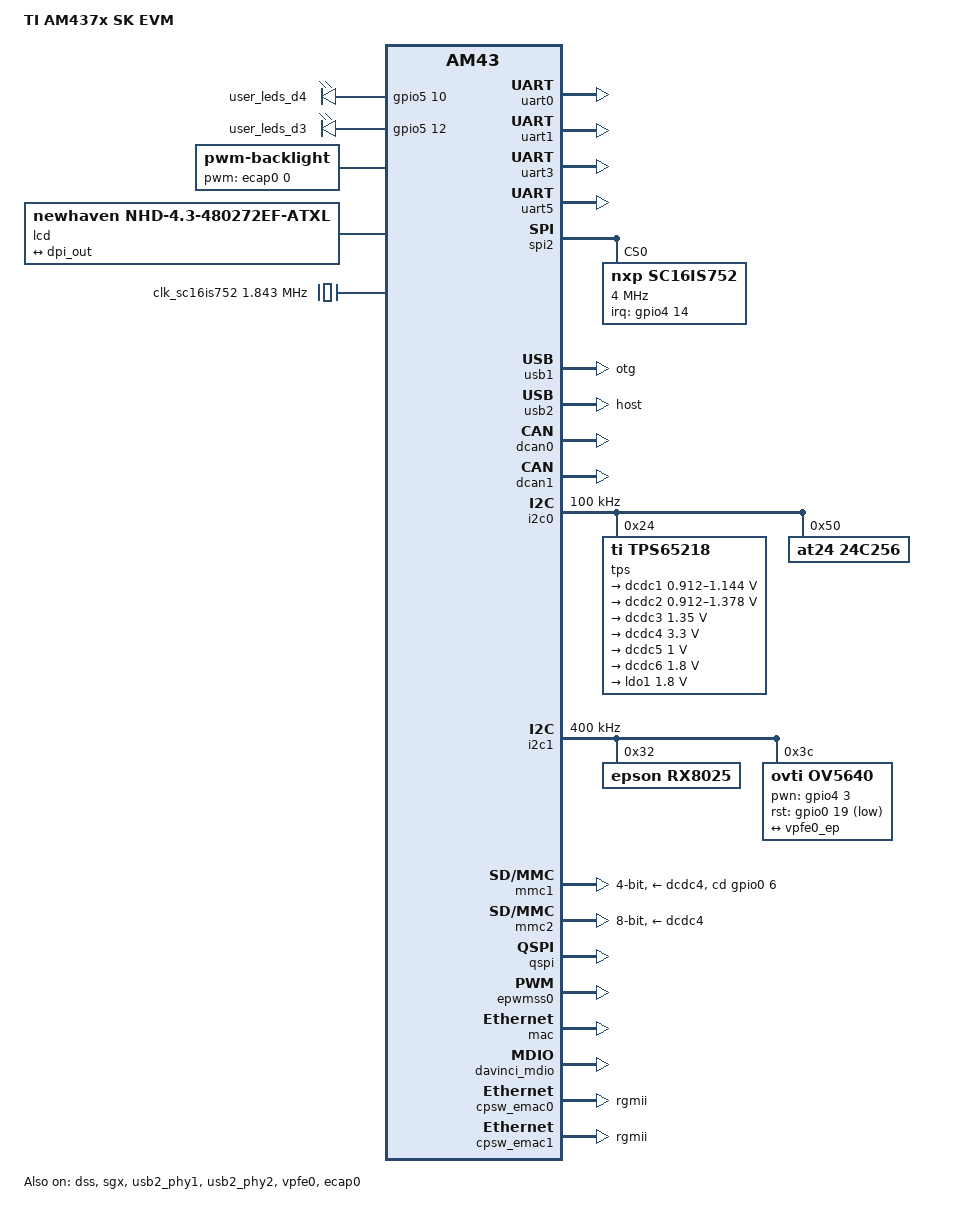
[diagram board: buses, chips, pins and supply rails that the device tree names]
/*
 * Copyright (C) 2015 Embest Technology Co., Ltd., - http://www.embest-tech.com
 *
 * This program is free software; you can redistribute it and/or modify
 * it under the terms of the GNU General Public License version 2 as
 * published by the Free Software Foundation.
 *
 * This dts is for embest own product:
 * SOM-PH8800 + BB-SPH1800
 */
/dts-v1/;

#include "am4372.dtsi"
#include <dt-bindings/pinctrl/am43xx.h>
#include <dt-bindings/pwm/pwm.h>
#include <dt-bindings/gpio/gpio.h>
#include <dt-bindings/input/input.h>

/ {
	model = "TI AM437x SK EVM";
	compatible = "ti,am437x-sk-evm","ti,am4372","ti,am43";

	aliases {

		serial1 = &uart1;
		serial3 = &uart3;
		serial5 = &uart5;
	};

	fragment@2 {
		target-path = "/clocks";
		__overlay__ {
			/* external oscillator of sc16is752 on spi2 */
			clk_sc16is752: sc16is752_osc {
				compatible = "fixed-clock";
				#clock-cells = <0>;
				clock-frequency  = <1843200>;
			};
		};
	};

	leds {
		pinctrl-names = "default";
		pinctrl-0 = <&user_leds>;
		compatible = "gpio-leds";

		led1 {
			label = "user_leds_d4";
			gpios = <&gpio5 10 GPIO_ACTIVE_HIGH>;
			linux,default-trigger = "none";
			default-state = "on";
		};

		led2 {
			label = "user_leds_d3";
			gpios = <&gpio5 12 GPIO_ACTIVE_HIGH>;
			linux,default-trigger = "none";
			default-state = "on";
		};
	};

	backlight: backlight {
		compatible = "pwm-backlight";

		pwms = <&ecap0 0 50000 PWM_POLARITY_INVERTED>;
		brightness-levels = <0 51 53 56 62 75 101 152 255>;
		default-brightness-level = <6>;
	};

	lcd0: display {
		compatible = "newhaven,nhd-4.3-480272ef-atxl", "panel-dpi";
		label = "lcd";

		/* If there is a enable pin in LCD sch. you need to add this!
		*pinctrl-names = "default";
		*pinctrl-0 = <&lcd_pins>;
		*
		*enable-gpios = <&gpio1 7 GPIO_ACTIVE_HIGH>; */

		panel-timing {
			/*This is the timing for HDMI&VGA*/
			/*clock-frequency = <80000000>;
			hactive = <1024>;
			vactive = <768>;
			hfront-porch = <18>;
			hback-porch = <297>;
			hsync-len = <53>;
			vfront-porch = <3>;
			vback-porch = <35>;
			vsync-len = <6>;
			hsync-active = <0>;
			vsync-active = <0>;
			de-active = <1>;
			pixelclk-active = <1>;*/

			/*This is the timing for 4.3inch_LCD*/
			clock-frequency = <9000000>;
			hactive = <480>;
			vactive = <272>;
			hfront-porch = <2>;
			hback-porch = <43>;
			hsync-len = <41>;
			vfront-porch = <2>;
			vback-porch = <12>;
			vsync-len = <10>;
			hsync-active = <0>;
			vsync-active = <0>;
			de-active = <1>;
			pixelclk-active = <1>;

			/*This is the timing for 7inch_LCD*/
			/*clock-frequency = <9000000>;
			hactive = <320>;
			vactive = <240>;
			hfront-porch = <64>;
			hback-porch = <10>;
			hsync-len = <16>;
			vfront-porch = <32>;
			vback-porch = <10>;
			vsync-len = <3>;
			hsync-active = <0>;
			vsync-active = <0>;
			de-active = <1>;
			pixelclk-active = <1>;*/
		};

		port {
			lcd_in: endpoint {
				remote-endpoint = <&dpi_out>;
			};
		};
	};
};

/* This is needed for LCD*/
&dss {
	status = "okay";

	pinctrl-names = "default";
	pinctrl-0 = <&dss_pins>;

	port {
		dpi_out: endpoint@0 {
			remote-endpoint = <&lcd_in>;
			data-lines = <24>;
		};
	};
};

/* This is needed for LCD*/
&sgx {
	status = "okay";
};

&cpu {
	cpu0-supply = <&dcdc2>;
};

&uart0 {
	status = "okay";
	pinctrl-names = "default";
	pinctrl-0 = <&uart0_pins>;
};

&uart1 {
	pinctrl-names = "default";
	pinctrl-0 = <&uart1_pins>;
	status = "okay";
};

&uart3 {
	pinctrl-names = "default";
	pinctrl-0 = <&uart3_pins>;
	status = "okay";
};

&uart5 {
	pinctrl-names = "default";
	pinctrl-0 = <&uart5_pins>;
	status = "okay";
};

&spi2 {
	pinctrl-names = "default";
	pinctrl-0 = <&spi2_pins>;
	ti,pindir-d0-out-d1-in = <1>;
	status = "okay";

	sc16is752: sc16is752@0 {
		pinctrl-names = "default";
		pinctrl-0 = <&sc16is752_irq_pins>;
		spi-max-frequency = <4000000>;
		reg = <0>;
		compatible = "nxp,sc16is752";
		clocks = <&clk_sc16is752>;
		interrupt-parent = <&gpio4>;
		interrupts = <14 0x2>;
		gpio-controller;
		#gpio-cells = <1>;
	};
};

&usb2_phy1 {
	status = "okay";
};

&usb1 {
	dr_mode = "otg";
	status = "okay";
	pinctrl-names = "default";
	pinctrl-0 = <&usb1_pins>;
};

&usb2_phy2 {
	status = "okay";
};

&usb2 {
	dr_mode = "host";
	status = "okay";
	pinctrl-names = "default";
	pinctrl-0 = <&usb2_pins>;
};

&dcan0 {
	pinctrl-names = "default";
	pinctrl-0 = <&can0_pins>;
	status = "okay";
};

&dcan1 {
	pinctrl-names = "default";
	pinctrl-0 = <&can1_pins>;
	status = "okay";
};

&i2c0 {
	status = "okay";
	pinctrl-names = "default";
	pinctrl-0 = <&i2c0_pins>;
	clock-frequency = <100000>;

	tps@24 {
		compatible = "ti,tps65218";
		reg = <0x24>;
		interrupts = <GIC_SPI 7 IRQ_TYPE_LEVEL_HIGH>;
		interrupt-controller;
		#interrupt-cells = <2>;

		dcdc1: regulator-dcdc1 {
			compatible = "ti,tps65218-dcdc1";
			/* VDD_CORE limits min of OPP50 and max of OPP100 */
			regulator-name = "vdd_core";
			regulator-min-microvolt = <912000>;
			regulator-max-microvolt = <1144000>;
			regulator-boot-on;
			regulator-always-on;
		};

		dcdc2: regulator-dcdc2 {
			compatible = "ti,tps65218-dcdc2";
			/* VDD_MPU limits min of OPP50 and max of OPP_NITRO */
			regulator-name = "vdd_mpu";
			regulator-min-microvolt = <912000>;
			regulator-max-microvolt = <1378000>;
			regulator-boot-on;
			regulator-always-on;
		};

		dcdc3: regulator-dcdc3 {
			compatible = "ti,tps65218-dcdc3";
			regulator-name = "vdds_ddr";
			regulator-min-microvolt = <1350000>;
			regulator-max-microvolt = <1350000>;
			regulator-boot-on;
			regulator-always-on;
			regulator-state-mem {
				regulator-on-in-suspend;
			};
			regulator-state-disk {
				regulator-off-in-suspend;
			};
		};

		dcdc4: regulator-dcdc4 {
			compatible = "ti,tps65218-dcdc4";
			regulator-name = "v3_3d";
			regulator-min-microvolt = <3300000>;
			regulator-max-microvolt = <3300000>;
			regulator-boot-on;
			regulator-always-on;
		};

		dcdc5: regulator-dcdc5 {
			compatible = "ti,tps65218-dcdc5";
			regulator-name = "v1_0bat";
			regulator-min-microvolt = <1000000>;
			regulator-max-microvolt = <1000000>;
			regulator-boot-on;
			regulator-always-on;
			regulator-state-mem {
				regulator-on-in-suspend;
			};
		};

		dcdc6: regulator-dcdc6 {
			compatible = "ti,tps65218-dcdc6";
			regulator-name = "v1_8bat";
			regulator-min-microvolt = <1800000>;
			regulator-max-microvolt = <1800000>;
			regulator-boot-on;
			regulator-always-on;
			regulator-state-mem {
				regulator-on-in-suspend;
			};
		};

		ldo1: regulator-ldo1 {
			compatible = "ti,tps65218-ldo1";
			regulator-name = "v1_8d";
			regulator-min-microvolt = <1800000>;
			regulator-max-microvolt = <1800000>;
			regulator-boot-on;
			regulator-always-on;
		};

		power-button {
			compatible = "ti,tps65218-pwrbutton";
			status = "okay";
			interrupts = <3 IRQ_TYPE_EDGE_BOTH>;
		};
	};

	at24@50 {
		compatible = "at24,24c256";
		pagesize = <64>;
		reg = <0x50>;
	};
};

&i2c1 {
	status = "okay";
	pinctrl-names = "default";
	pinctrl-0 = <&i2c1_pins>;
	clock-frequency = <400000>;

	rx8025: rx8025@32 {
                compatible = "epson,rx8025";
                reg = <0x32>;
                status = "okay";
        };

	ov5640@3c {
		compatible = "ovti,ov5640";
		reg = <0x3c>;
		pinctrl-names = "default";
		pinctrl-0 = <&clkout2_pin>;	
		
		clocks = <&clkout2_ck>;
		clock-names = "mclk";
		assigned-clocks = <&clkout2_mux_ck>, <&clkout2_post_div_ck>;
		assigned-clock-parents = <&sysclk_div>;
		assigned-clock-rates = <0>, <12500000>;		
		
		pwn = <&gpio4 3 GPIO_ACTIVE_HIGH>;
		/*rst = <&gpio1 22 GPIO_ACTIVE_LOW>; */
		rst = <&gpio0 19 GPIO_ACTIVE_LOW>;
		port {
			ov5640_1: endpoint {
				remote-endpoint = <&vpfe0_ep>;
				link-frequencies = /bits/ 64 <70000000>;
			};
		};
	};
	
};

&vpfe0 {
	status = "okay";
	pinctrl-names = "default", "sleep";
	pinctrl-0 = <&vpfe0_pins_default>;
	pinctrl-1 = <&vpfe0_pins_sleep>;

	port {
		vpfe0_ep: endpoint {
			remote-endpoint = <&ov5640_1>;
			ti,am437x-vpfe-interface = <0>;
			bus-width = <8>;
			hsync-active = <0>;
			vsync-active = <0>;
		};
	};	
};

&mmc1 {
	status = "okay";
	pinctrl-names = "default", "sleep";
	pinctrl-0 = <&mmc1_pins>;
	pinctrl-1 = <&mmc1_pins_sleep>;

	vmmc-supply = <&dcdc4>;
	bus-width = <4>;
	cd-gpios = <&gpio0 6 GPIO_ACTIVE_HIGH>;
};

/* eMMC sits on mmc2 */
&mmc2 {
	/*
	 * When enabling eMMC, disable GPMC/NAND and set
	 * SelEMMCorNAND to output-high
	 */
	status = "okay";
	vmmc-supply = <&dcdc4>;
	bus-width = <8>;
	pinctrl-names = "default", "sleep";
	pinctrl-0 = <&emmc_pins_default>;
	pinctrl-1 = <&emmc_pins_sleep>;
	ti,non-removable;
};

&qspi {
	pinctrl-names = "default";
	pinctrl-0 = <&qspi_pins>;
	spi-max-frequency = <108000000>;
	status = "okay";

	/*m25p80@0 {
		compatible = "n25q256a";
		spi-max-frequency = <108000000>;
		reg = <0>;
		spi-cpol;
		spi-cpha;
		spi-tx-bus-width = <1>;
		spi-rx-bus-width = <4>;
		#address-cells = <1>;
		#size-cells = <1>;
	};*/
};

&gpio0 {
	status = "okay";
};

/* This is needed for SPI dev si16 */
&gpio4 {
	status = "okay";
};

/* This is needed for LED according to LED pins */
&gpio5 {
	status = "okay";
};

/* This is needed for backlight */
&epwmss0 {
	status = "okay";
};

/* This is needed for backlight */
&ecap0 {
	status = "okay";
	pinctrl-names = "default";
	pinctrl-0 = <&ecap0_pins>;
};

&mac {
	pinctrl-names = "default", "sleep";
	pinctrl-0 = <&cpsw_default>;
	pinctrl-1 = <&cpsw_sleep>;
	dual_emac = <1>;
	status = "okay";
};

&davinci_mdio {
	pinctrl-names = "default", "sleep";
	pinctrl-0 = <&davinci_mdio_default>;
	pinctrl-1 = <&davinci_mdio_sleep>;
	status = "okay";
};

&cpsw_emac0 {
	phy_id = <&davinci_mdio>, <7>;
	phy-mode = "rgmii";
	dual_emac_res_vlan = <1>;
};

&cpsw_emac1 {
	phy_id = <&davinci_mdio>, <6>;
	phy-mode = "rgmii";
	dual_emac_res_vlan = <2>;
};


&rtc {
	status = "disabled";
	ext-clk-src;
};

&am43xx_pinmux {
	/* UART0 pins: rxd & txd */
	uart0_pins: pinmux_uart0_pins {
		pinctrl-single,pins = <
			0x170 (PIN_INPUT_PULLUP | MUX_MODE0)	/* uart0_rxd.uart0_rxd */
			0x174 (PIN_OUTPUT_PULLDOWN | MUX_MODE0)	/* uart0_txd.uart0_txd */
		>;
	};

	/* UART1 pins: rxd & txd */
	uart1_pins: pinmux_uart1_pins {
		pinctrl-single,pins = <
			0x180 (PIN_INPUT_PULLUP | MUX_MODE0)	/* uart1_rxd.uart1_rxd */
			0x184 (PIN_OUTPUT_PULLDOWN | MUX_MODE0)	/* uart1_txd.uart1_txd */
		>;
	};

	/* UART3 pins: rxd & txd */
	uart3_pins: pinmux_uart3_pins {
		pinctrl-single,pins = <
			0x228 (PIN_INPUT_PULLUP | MUX_MODE0)	/* uart3_rxd.uart3_rxd */
			0x22c (PIN_OUTPUT_PULLDOWN | MUX_MODE0)	/* uart3_txd.uart3_txd */
			0x234 (PIN_OUTPUT_PULLDOWN | MUX_MODE7)	/* uart3_rts.gpio5_1   */
			0x230 (PIN_OUTPUT_PULLDOWN | MUX_MODE7)	/* uart3_cts.gpio5_0   */
		>;
	};

	/* UART5 pins: rxd & txd */
	uart5_pins: pinmux_uart5_pins {
		pinctrl-single,pins = <
			0x108 (PIN_INPUT_PULLUP | MUX_MODE3)	/* mii1_col.uart5_rxd */
			0x144 (PIN_OUTPUT_PULLDOWN | MUX_MODE3)	/* rmii1_refclk.uart5_txd */
			0x10c (PIN_OUTPUT_PULLDOWN | MUX_MODE7)	/* ctsn */
			0x110 (PIN_OUTPUT_PULLDOWN | MUX_MODE7) /* rtsn */
		>;
	};

	spi2_pins: pinmux_spi2_pins {
		pinctrl-single,pins = <
			0x260 (PIN_INPUT_PULLUP | MUX_MODE0) /* spi2_sclk.spi2_sclk */
			0x264 (PIN_OUTPUT_PULLUP | MUX_MODE0) /* spi2_d0.spi2_d0 */
			0x268 (PIN_INPUT_PULLUP | MUX_MODE0) /* spi2_d1.spi2_d1 */
			0x26C (PIN_OUTPUT_PULLUP | MUX_MODE0) /* spi2_cs0.spi2_cs0 */
		>;
	};

	sc16is752_irq_pins: sc16is752_irq_pins {
		pinctrl-single,pins = <
			0x1e8 (PIN_INPUT | MUX_MODE7)	    /* CAM1_DATA0.gpio4_14 */
		>;
	};

	/* I2C0 pins: sda & scl */
	i2c0_pins: i2c0_pins {
		pinctrl-single,pins = <
			0x188 (PIN_INPUT | SLEWCTRL_FAST | MUX_MODE0)  /* i2c0_sda.i2c0_sda */
			0x18c (PIN_INPUT | SLEWCTRL_FAST | MUX_MODE0)  /* i2c0_scl.i2c0_scl */
		>;
	};

	/* MMC1 pins:  data0 - data3; clk; cmd; detect pin */
	mmc1_pins: pinmux_mmc1_pins {
		pinctrl-single,pins = <
			0x0f0 (PIN_INPUT | MUX_MODE0) /* mmc0_dat3.mmc0_dat3 */
			0x0f4 (PIN_INPUT | MUX_MODE0) /* mmc0_dat2.mmc0_dat2 */
			0x0f8 (PIN_INPUT | MUX_MODE0) /* mmc0_dat1.mmc0_dat1 */
			0x0fc (PIN_INPUT | MUX_MODE0) /* mmc0_dat0.mmc0_dat0 */
			0x100 (PIN_INPUT | MUX_MODE0) /* mmc0_clk.mmc0_clk */
			0x104 (PIN_INPUT | MUX_MODE0) /* mmc0_cmd.mmc0_cmd */
			0x160 (PIN_INPUT | MUX_MODE7) /* spi0_cs1.gpio0_6 */
		>;
	};

	/* MMC1 pins:  data0 - data3; clk; cmd; detect pin */
	mmc1_pins_sleep: pinmux_mmc1_pins_sleep {
		pinctrl-single,pins = <
			0x0F0 (PIN_INPUT_PULLDOWN | MUX_MODE7)
			0x0F4 (PIN_INPUT_PULLDOWN | MUX_MODE7)
			0x0F8 (PIN_INPUT_PULLDOWN | MUX_MODE7)
			0x0FC (PIN_INPUT_PULLDOWN | MUX_MODE7)
			0x100 (PIN_INPUT_PULLDOWN | MUX_MODE7)
			0x104 (PIN_INPUT_PULLDOWN | MUX_MODE7)
			0x1A0 (PIN_INPUT_PULLDOWN | MUX_MODE7)
			0x160 (PIN_INPUT_PULLDOWN | MUX_MODE7)
		>;
	};

	/* eMMC pins:  data0 - data7; clk; cmd;  */
	emmc_pins_default: emmc_pins_default {
		pinctrl-single,pins = <
			0x00 (PIN_INPUT_PULLUP | MUX_MODE1) /* gpmc_ad0.mmc1_dat0 */
			0x04 (PIN_INPUT_PULLUP | MUX_MODE1) /* gpmc_ad1.mmc1_dat1 */
			0x08 (PIN_INPUT_PULLUP | MUX_MODE1) /* gpmc_ad2.mmc1_dat2 */
			0x0c (PIN_INPUT_PULLUP | MUX_MODE1) /* gpmc_ad3.mmc1_dat3 */
			0x10 (PIN_INPUT_PULLUP | MUX_MODE1) /* gpmc_ad4.mmc1_dat4 */
			0x14 (PIN_INPUT_PULLUP | MUX_MODE1) /* gpmc_ad5.mmc1_dat5 */
			0x18 (PIN_INPUT_PULLUP | MUX_MODE1) /* gpmc_ad6.mmc1_dat6 */
			0x1c (PIN_INPUT_PULLUP | MUX_MODE1) /* gpmc_ad7.mmc1_dat7 */
			0x80 (PIN_INPUT_PULLUP | MUX_MODE2) /* gpmc_csn1.mmc1_clk */
			0x84 (PIN_INPUT_PULLUP | MUX_MODE2) /* gpmc_csn2.mmc1_cmd */
		>;
	};

	emmc_pins_sleep: emmc_pins_sleep {
		pinctrl-single,pins = <
			0x00 (PIN_INPUT_PULLDOWN | MUX_MODE7) /* gpmc_ad0.gpio1_0 */
			0x04 (PIN_INPUT_PULLDOWN | MUX_MODE7) /* gpmc_ad1.gpio1_1 */
			0x08 (PIN_INPUT_PULLDOWN | MUX_MODE7) /* gpmc_ad2.gpio1_2 */
			0x0c (PIN_INPUT_PULLDOWN | MUX_MODE7) /* gpmc_ad3.gpio1_3 */
			0x10 (PIN_INPUT_PULLDOWN | MUX_MODE7) /* gpmc_ad4.gpio1_4 */
			0x14 (PIN_INPUT_PULLDOWN | MUX_MODE7) /* gpmc_ad5.gpio1_5 */
			0x18 (PIN_INPUT_PULLDOWN | MUX_MODE7) /* gpmc_ad6.gpio1_6 */
			0x1c (PIN_INPUT_PULLDOWN | MUX_MODE7) /* gpmc_ad7.gpio1_7 */
			0x80 (PIN_INPUT_PULLDOWN | MUX_MODE7) /* gpmc_csn1.gpio1_30 */
			0x84 (PIN_INPUT_PULLDOWN | MUX_MODE7) /* gpmc_csn2.gpio1_31 */
		>;
	};

	qspi_pins: pinmux_qspi_pins {
		pinctrl-single,pins = <
			0x7c (PIN_OUTPUT | MUX_MODE3)   /* gpmc_csn0.qspi_csn */
			0x88 (PIN_OUTPUT | MUX_MODE2)   /* gpmc_csn3.qspi_clk */
			0x90 (PIN_INPUT | MUX_MODE3)    /* gpmc_advn_ale.qspi_d0 */
			0x94 (PIN_INPUT | MUX_MODE3)    /* gpmc_oen_ren.qspi_d1 */
			0x98 (PIN_INPUT | MUX_MODE3)    /* gpmc_wen.qspi_d2 */
			0x9c (PIN_INPUT | MUX_MODE3)    /* gpmc_be0n_cle.qspi_d3 */
		>;
	};

	cpsw_default: cpsw_default {
		pinctrl-single,pins = <
			/* Slave 1 */
			0x12c (PIN_OUTPUT | MUX_MODE2)	/* mii1_txclk.rmii1_tclk */
			0x114 (PIN_OUTPUT | MUX_MODE2)	/* mii1_txen.rgmii1_tctl */
			0x128 (PIN_OUTPUT | MUX_MODE2)	/* mii1_txd0.rgmii1_td0 */
			0x124 (PIN_OUTPUT | MUX_MODE2)	/* mii1_txd1.rgmii1_td1 */
			0x120 (PIN_OUTPUT | MUX_MODE2)	/* mii1_txd0.rgmii1_td2 */
			0x11c (PIN_OUTPUT | MUX_MODE2)	/* mii1_txd1.rgmii1_td3 */
			0x130 (PIN_INPUT | MUX_MODE2)	/* mii1_rxclk.rmii1_rclk */
			0x118 (PIN_INPUT | MUX_MODE2)	/* mii1_rxdv.rgmii1_rctl */
			0x140 (PIN_INPUT | MUX_MODE2)	/* mii1_rxd0.rgmii1_rd0 */
			0x13c (PIN_INPUT | MUX_MODE2)	/* mii1_rxd1.rgmii1_rd1 */
			0x138 (PIN_INPUT | MUX_MODE2)	/* mii1_rxd0.rgmii1_rd2 */
			0x134 (PIN_INPUT | MUX_MODE2)	/* mii1_rxd1.rgmii1_rd3 */

			/* Slave 2 */
			0x58 (PIN_OUTPUT | MUX_MODE2)	/* gpmc_a6.rgmii2_tclk */
			0x40 (PIN_OUTPUT | MUX_MODE2)	/* gpmc_a0.rgmii2_tctl */
			0x54 (PIN_OUTPUT | MUX_MODE2)	/* gpmc_a5.rgmii2_td0 */
			0x50 (PIN_OUTPUT | MUX_MODE2)	/* gpmc_a4.rgmii2_td1 */
			0x4c (PIN_OUTPUT | MUX_MODE2)	/* gpmc_a3.rgmii2_td2 */
			0x48 (PIN_OUTPUT | MUX_MODE2)	/* gpmc_a2.rgmii2_td3 */
			0x5c (PIN_INPUT | MUX_MODE2)	/* gpmc_a7.rgmii2_rclk */
			0x44 (PIN_INPUT | MUX_MODE2)	/* gpmc_a1.rgmii2_rtcl */
			0x6c (PIN_INPUT | MUX_MODE2)	/* gpmc_a11.rgmii2_rd0 */
			0x68 (PIN_INPUT | MUX_MODE2)	/* gpmc_a10.rgmii2_rd1 */
			0x64 (PIN_INPUT | MUX_MODE2)	/* gpmc_a9.rgmii2_rd2 */
			0x60 (PIN_INPUT | MUX_MODE2)	/* gpmc_a8.rgmii2_rd3 */
		>;
	};

	cpsw_sleep: cpsw_sleep {
	pinctrl-single,pins = <
			/* Slave 1 reset value */
			0x12c (PIN_INPUT_PULLDOWN | MUX_MODE7)
			0x114 (PIN_INPUT_PULLDOWN | MUX_MODE7)
			0x128 (PIN_INPUT_PULLDOWN | MUX_MODE7)
			0x124 (PIN_INPUT_PULLDOWN | MUX_MODE7)
			0x120 (PIN_INPUT_PULLDOWN | MUX_MODE7)
			0x11c (PIN_INPUT_PULLDOWN | MUX_MODE7)
			0x130 (PIN_INPUT_PULLDOWN | MUX_MODE7)
			0x118 (PIN_INPUT_PULLDOWN | MUX_MODE7)
			0x140 (PIN_INPUT_PULLDOWN | MUX_MODE7)
			0x13c (PIN_INPUT_PULLDOWN | MUX_MODE7)
			0x138 (PIN_INPUT_PULLDOWN | MUX_MODE7)
			0x134 (PIN_INPUT_PULLDOWN | MUX_MODE7)

			/* Slave 2 reset value */
			0x58 (PIN_INPUT_PULLDOWN | MUX_MODE7)
			0x40 (PIN_INPUT_PULLDOWN | MUX_MODE7)
			0x54 (PIN_INPUT_PULLDOWN | MUX_MODE7)
			0x50 (PIN_INPUT_PULLDOWN | MUX_MODE7)
			0x4c (PIN_INPUT_PULLDOWN | MUX_MODE7)
			0x48 (PIN_INPUT_PULLDOWN | MUX_MODE7)
			0x5c (PIN_INPUT_PULLDOWN | MUX_MODE7)
			0x44 (PIN_INPUT_PULLDOWN | MUX_MODE7)
			0x6c (PIN_INPUT_PULLDOWN | MUX_MODE7)
			0x68 (PIN_INPUT_PULLDOWN | MUX_MODE7)
			0x64 (PIN_INPUT_PULLDOWN | MUX_MODE7)
			0x60 (PIN_INPUT_PULLDOWN | MUX_MODE7)
		>;
	}; 

	davinci_mdio_default: davinci_mdio_default {
		pinctrl-single,pins = <
			/* MDIO */
			0x148 (PIN_INPUT | SLEWCTRL_FAST | MUX_MODE0)	/* mdio_data.mdio_data */
			0x14c (PIN_OUTPUT | MUX_MODE0)			/* mdio_clk.mdio_clk */
		>;
	};

	davinci_mdio_sleep: davinci_mdio_sleep {
		pinctrl-single,pins = <
			/* MDIO reset value */
			0x148 (PIN_INPUT_PULLDOWN | MUX_MODE7)
			0x14c (PIN_INPUT_PULLDOWN | MUX_MODE7)
		>;
	};

	usb1_pins: usb1_pins {
		pinctrl-single,pins = <
			0x2c0 (PIN_OUTPUT | MUX_MODE0) /* usb0_drvvbus.usb0_drvvbus */
		>;
	};

	usb2_pins: usb2_pins {
		pinctrl-single,pins = <
			0x2c4 (PIN_OUTPUT | MUX_MODE0) /* usb1_drvvbus.usb1_drvvbus */
		>;
	};

	/* CAN0 pins: rxd & txd */
	can0_pins: pinmux_can0_pins {
		pinctrl-single,pins = <
			0x17C (PIN_INPUT_PULLUP | MUX_MODE2)	/* uart1_rtsn.can0_rxd */
			0x178 (PIN_OUTPUT_PULLDOWN | MUX_MODE2)	/* uart1_ctsn.can0_txd */
		>;
	};

	/* CAN1 pins: rxd & txd */
	can1_pins: pinmux_can1_pins {
		pinctrl-single,pins = <
			0x16C (PIN_INPUT_PULLUP | MUX_MODE2)	/* uart0_rtsn.can1_rxd */
			0x168 (PIN_OUTPUT_PULLDOWN | MUX_MODE2)	/* uart0_ctsn.can1_txd */
		>;
	};

	user_leds: user_leds {
		pinctrl-single,pins = <
			0x240 (PIN_OUTPUT | MUX_MODE7)	/* gpmc_csn3.gpio5_10 */
			0x248 (PIN_OUTPUT | MUX_MODE7)	/* gpmc_ben1.gpio5_12 */
		>;
	};

	ecap0_pins: backlight_pins {
		pinctrl-single,pins = <
			0x164 (PIN_OUTPUT | MUX_MODE0) /* eCAP0_in_PWM0_out.eCAP0_in_PWM0_out */
		>;
	};

	/* I2C1 pins: sda & scl */
	i2c1_pins: i2c1_pins {
		pinctrl-single,pins = <
			0x15c (PIN_INPUT | SLEWCTRL_FAST | MUX_MODE2)  /* spi0_cs0.i2c1_scl */
			0x158 (PIN_INPUT | SLEWCTRL_FAST | MUX_MODE2)  /* spi0_d1.i2c1_sda  */
		>;
	};

	dss_pins: dss_pins {
		pinctrl-single,pins = <
			0x020 (PIN_OUTPUT | MUX_MODE1)	/* gpmc ad 8 -> DSS DATA 23 */
			0x024 (PIN_OUTPUT | MUX_MODE1)
			0x028 (PIN_OUTPUT | MUX_MODE1)
			0x02c (PIN_OUTPUT | MUX_MODE1)
			0x030 (PIN_OUTPUT | MUX_MODE1)
			0x034 (PIN_OUTPUT | MUX_MODE1)
			0x038 (PIN_OUTPUT | MUX_MODE1)
			0x03c (PIN_OUTPUT | MUX_MODE1)	/* gpmc ad 15 -> DSS DATA 16 */
			0x0a0 (PIN_OUTPUT | MUX_MODE0)	/* DSS DATA 0 */
			0x0a4 (PIN_OUTPUT | MUX_MODE0)
			0x0a8 (PIN_OUTPUT | MUX_MODE0)
			0x0ac (PIN_OUTPUT | MUX_MODE0)
			0x0b0 (PIN_OUTPUT | MUX_MODE0)
			0x0b4 (PIN_OUTPUT | MUX_MODE0)
			0x0b8 (PIN_OUTPUT | MUX_MODE0)
			0x0bc (PIN_OUTPUT | MUX_MODE0)
			0x0c0 (PIN_OUTPUT | MUX_MODE0)
			0x0c4 (PIN_OUTPUT | MUX_MODE0)
			0x0c8 (PIN_OUTPUT | MUX_MODE0)
			0x0cc (PIN_OUTPUT | MUX_MODE0)
			0x0d0 (PIN_OUTPUT | MUX_MODE0)
			0x0d4 (PIN_OUTPUT | MUX_MODE0)
			0x0d8 (PIN_OUTPUT | MUX_MODE0)
			0x0dc (PIN_OUTPUT | MUX_MODE0)	/* DSS DATA 15 */
			0x0e0 (PIN_OUTPUT | MUX_MODE0)	/* DSS VSYNC */
			0x0e4 (PIN_OUTPUT | MUX_MODE0)	/* DSS HSYNC */
			0x0e8 (PIN_OUTPUT | MUX_MODE0)	/* DSS PCLK */
			0x0ec (PIN_OUTPUT | MUX_MODE0)	/* DSS AC BIAS EN */

		>;
	};

	mcasp0_pins: mcasp0_pins {
		pinctrl-single,pins = <
			0x190 (PIN_INPUT_PULLDOWN | MUX_MODE0)	/* MCASP0_ACLKX.MCASP0_ACLKX */
			0x194 (PIN_INPUT_PULLDOWN | MUX_MODE0)	/* MCASP0_FSX.MCASP0_FSX */
			0x198 (PIN_OUTPUT_PULLDOWN | MUX_MODE0)	/* MCASP0_AXR0.MCASP0_AXR0 */
			0x1a8 (PIN_INPUT_PULLDOWN | MUX_MODE0)	/* MCASP0_AXR1.MCASP0_AXR1 */
			0x1ac (PIN_OUTPUT_PULLDOWN | MUX_MODE0)	/* MCASP0_AHCLKX.MCASP0_AHCLKX */
		>;
	};

	vpfe0_pins_default: vpfe0_pins_default {
		pinctrl-single,pins = <
			0x1B0 (PIN_INPUT_PULLUP | MUX_MODE0)  /* cam0_hd mode 0*/
			0x1B4 (PIN_INPUT_PULLUP | MUX_MODE0)  /* cam0_vd mode 0*/
			0x1C0 (PIN_INPUT_PULLUP | MUX_MODE0)  /* cam0_pclk mode 0*/
			0x1C4 (PIN_INPUT_PULLUP | MUX_MODE0)  /* cam0_data8 mode 0*/
			0x1C8 (PIN_INPUT_PULLUP | MUX_MODE0)  /* cam0_data9 mode 0*/
			0x208 (PIN_INPUT_PULLUP | MUX_MODE0)  /* cam0_data0 mode 0*/
			0x20C (PIN_INPUT_PULLUP | MUX_MODE0)  /* cam0_data1 mode 0*/
			0x210 (PIN_INPUT_PULLUP | MUX_MODE0)  /* cam0_data2 mode 0*/
			0x214 (PIN_INPUT_PULLUP | MUX_MODE0)  /* cam0_data3 mode 0*/
			0x218 (PIN_INPUT_PULLUP | MUX_MODE0)  /* cam0_data4 mode 0*/
			0x21C (PIN_INPUT_PULLUP | MUX_MODE0)  /* cam0_data5 mode 0*/
			0x220 (PIN_INPUT_PULLUP | MUX_MODE0)  /* cam0_data6 mode 0*/
			0x224 (PIN_INPUT_PULLUP | MUX_MODE0)  /* cam0_data7 mode 0*/
		>;
	};

	vpfe0_pins_sleep: vpfe0_pins_sleep {
		pinctrl-single,pins = <
			0x1B0 (DS0_PULL_UP_DOWN_EN | INPUT_EN | MUX_MODE7)  /* cam0_hd mode 0*/
			0x1B4 (DS0_PULL_UP_DOWN_EN | INPUT_EN | MUX_MODE7)  /* cam0_vd mode 0*/
			0x1C0 (DS0_PULL_UP_DOWN_EN | INPUT_EN | MUX_MODE7)  /* cam0_pclk mode 0*/
			0x1C4 (DS0_PULL_UP_DOWN_EN | INPUT_EN | MUX_MODE7)  /* cam0_data8 mode 0*/
			0x1C8 (DS0_PULL_UP_DOWN_EN | INPUT_EN | MUX_MODE7)  /* cam0_data9 mode 0*/
			0x208 (DS0_PULL_UP_DOWN_EN | INPUT_EN | MUX_MODE7)  /* cam0_data0 mode 0*/
			0x20C (DS0_PULL_UP_DOWN_EN | INPUT_EN | MUX_MODE7)  /* cam0_data1 mode 0*/
			0x210 (DS0_PULL_UP_DOWN_EN | INPUT_EN | MUX_MODE7)  /* cam0_data2 mode 0*/
			0x214 (DS0_PULL_UP_DOWN_EN | INPUT_EN | MUX_MODE7)  /* cam0_data3 mode 0*/
			0x218 (DS0_PULL_UP_DOWN_EN | INPUT_EN | MUX_MODE7)  /* cam0_data4 mode 0*/
			0x21C (DS0_PULL_UP_DOWN_EN | INPUT_EN | MUX_MODE7)  /* cam0_data5 mode 0*/
			0x220 (DS0_PULL_UP_DOWN_EN | INPUT_EN | MUX_MODE7)  /* cam0_data6 mode 0*/
			0x224 (DS0_PULL_UP_DOWN_EN | INPUT_EN | MUX_MODE7)  /* cam0_data7 mode 0*/
		>;
	};

	clkout2_pin: pinmux_clkout2_pin {
		pinctrl-single,pins = <
			0x274 (PIN_OUTPUT_PULLDOWN | MUX_MODE3)	/* XDMA_EVENT_INTR1/CLKOUT2 */
			0x1bc (PIN_OUTPUT_PULLDOWN | MUX_MODE7)	/* pwn.gpio4_3 */
			0x270 (PIN_OUTPUT_PULLDOWN | MUX_MODE7)	/* rst gpio0_19 */
		>;	
	};
};
